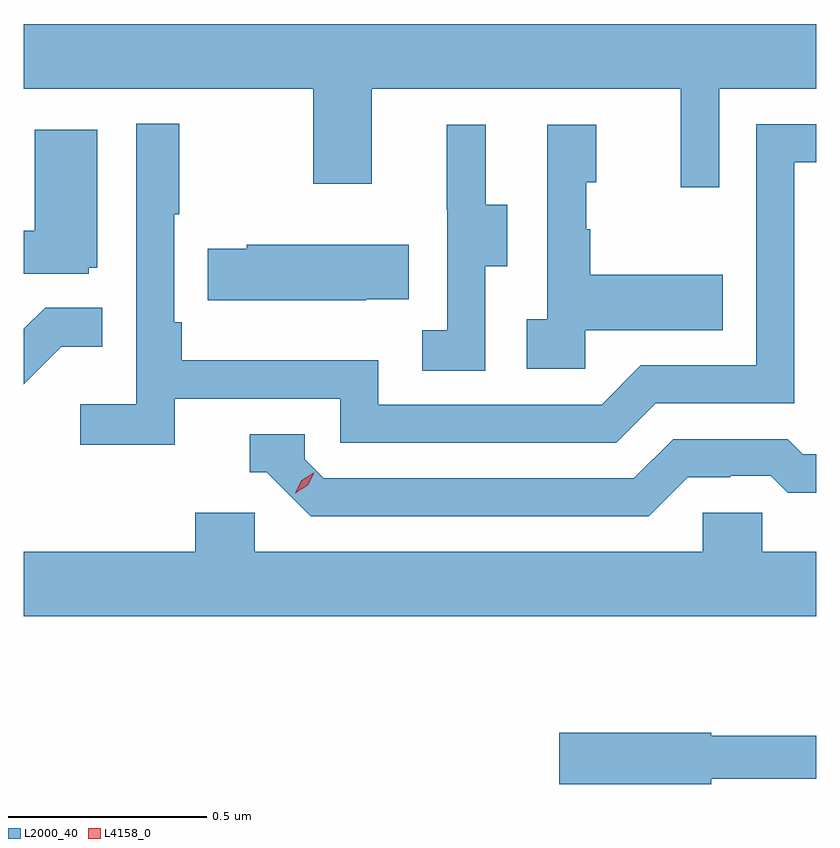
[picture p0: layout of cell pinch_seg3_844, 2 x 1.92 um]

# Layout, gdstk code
import gdstk
lib = gdstk.Library(unit=1e-6, precision=1e-09)
def P(c, l, *ps):  # polygons
    for p in ps: c.add(gdstk.Polygon(p, *l))
L2000_40 = (2000, 40)
L4158_0 = (4158, 0)

pinch_seg3_844 = lib.new_cell('pinch_seg3_844')
P(pinch_seg3_844, L2000_40, [(839.289,720.896),(839.533,720.896),(839.533,721.06),(837.533,721.06),(837.533,720.896),(838.264,720.896),(838.264,720.657),(838.411,720.657),(838.411,720.896),(839.192,720.896),(839.192,720.648),(839.289,720.648)],
  [(837.914,720.114),(838.332,720.114),(838.332,720.003),(839.029,720.003),(839.128,720.102),(839.478,720.102),(839.478,720.711),(839.533,720.711),(839.533,720.807),(839.382,720.807),(839.382,720.198),(839.091,720.198),(838.992,720.099),(838.428,720.099),(838.428,720.211),(837.932,720.211),(837.932,720.307),(837.912,720.307),(837.912,720.58),(837.925,720.58),(837.925,720.808),(837.816,720.808),(837.816,720.1),(837.675,720.1),(837.675,719.998),(837.914,719.998)],
  [(838.698,720.448),(838.753,720.448),(838.753,720.603),(838.699,720.603),(838.699,720.805),(838.601,720.805),(838.601,720.591),(838.602,720.591),(838.602,720.287),(838.539,720.287),(838.539,720.184),(838.698,720.184)],
  [(838.95,720.287),(839.297,720.287),(839.297,720.427),(838.963,720.427),(838.963,720.542),(838.953,720.542),(838.953,720.66),(838.978,720.66),(838.978,720.805),(838.854,720.805),(838.854,720.314),(838.803,720.314),(838.803,720.189),(838.95,720.189)],
  [(837.696,720.444),(837.718,720.444),(837.718,720.793),(837.56,720.793),(837.56,720.538),(837.533,720.538),(837.533,720.429),(837.696,720.429)],
  [(838.397,720.365),(838.505,720.365),(838.505,720.502),(838.095,720.502),(838.095,720.492),(837.997,720.492),(837.997,720.362),(838.397,720.362)],
  [(837.627,720.245),(837.731,720.245),(837.731,720.344),(837.587,720.344),(837.533,720.29),(837.533,720.151)],
  [(839.209,719.916),(839.316,719.916),(839.316,719.919),(839.419,719.919),(839.461,719.877),(839.533,719.877),(839.533,719.973),(839.5,719.973),(839.461,720.012),(839.172,720.012),(839.073,719.913),(838.29,719.913),(838.242,719.961),(838.242,720.024),(838.103,720.024),(838.103,719.928),(838.146,719.928),(838.257,719.817),(839.11,719.817)],
  [(839.533,719.728),(839.397,719.728),(839.397,719.826),(839.247,719.826),(839.247,719.728),(838.116,719.728),(838.116,719.826),(837.965,719.826),(837.965,719.728),(837.533,719.728),(837.533,719.564),(839.533,719.564)],
  [(839.268,719.154),(839.533,719.154),(839.533,719.263),(839.268,719.263),(839.268,719.271),(838.884,719.271),(838.884,719.141),(839.268,719.141)])
P(pinch_seg3_844, L4158_0, [(838.218,719.875),(838.218,719.876),(838.234,719.908),(838.265,719.927),(838.266,719.927),(838.266,719.927),(838.249,719.895),(838.218,719.875)])

lib.write_gds('pinch_seg3_844.gds')
